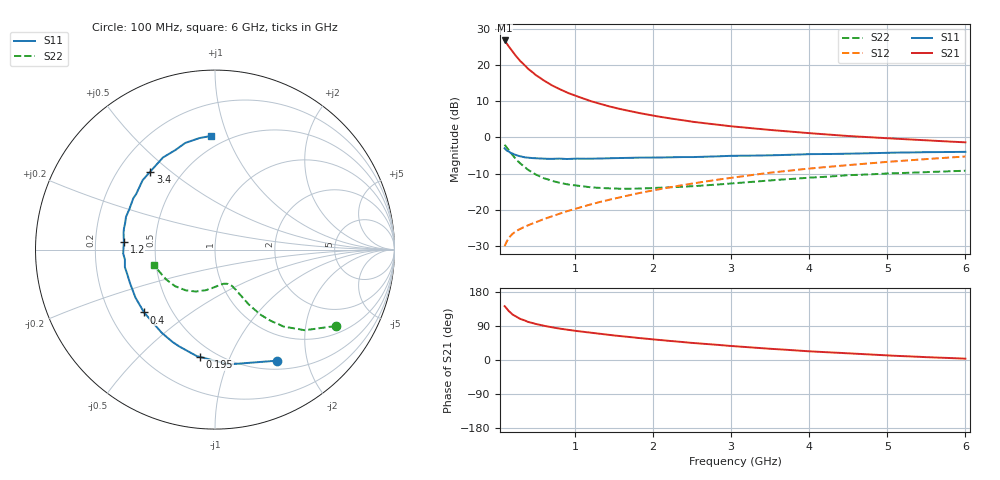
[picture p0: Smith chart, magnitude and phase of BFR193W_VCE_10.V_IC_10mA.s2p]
! Infineon Technologies  Discrete & RF Semiconductors
! BFR193W
! VCE =  10. V,  IC =  10 mA
! Common Emitter S-Parameters:  Nov 2015
# GHz  S  MA  R  50
!  f  S11  S21  S12  S22
! GHz  MAG  ANG  MAG  ANG  MAG  ANG  MAG  ANG
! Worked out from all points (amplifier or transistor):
!   192 points, 100 MHz to 6 GHz, reference 50 ohm
!   highest |S21| = 26.7 dB at 100 MHz (marker M1)
!   |S21| within 3 dB of that: start of sweep to 199.1 MHz
!   unconditionally stable (mu >= 1): 1.065 GHz to 2.635 GHz
!   at 440 MHz: K = 0.70, MSG = 21.1 dB, |S12| = -23.8 dB
!   at 1.7 GHz: K = 1.04, MAG = 10.3 dB, |S12| = -15.9 dB
!   at 6 GHz: K = 0.88, MSG = 2.0 dB, |S12| = -5.2 dB
!   S11 on the Smith chart (normalised r, x): 100 MHz: 0.61, -1.52; 195 MHz: 0.42, -0.78; 400 MHz: 0.35, -0.34; 1.2 GHz: 0.33, +0.04; 3.4 GHz: 0.33, +0.43; 6 GHz: 0.41, +0.87
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0.1  0.7083 -60.9  21.7 142.1  0.0318 62.6  0.7959 -32.3
0.15  0.6444 -83.0  18.17 129.5  0.0409 55.5  0.6725 -41.9
0.195  0.6038 -97.9  15.58 121.4  0.0463 52.1  0.5836 -47.6
0.2  0.602 -99.7  15.32 120.3  0.0469 51.8  0.5741 -48.3
0.24  0.5752 -110.2  13.49 115.2  0.0505 50.3  0.5103 -51.6
0.26  0.5661 -114.8  12.7 112.8  0.0521 49.8  0.4835 -53.0
0.3  0.5503 -122.7  11.32 108.4  0.055 49.2  0.4392 -55.2
0.4  0.528 -138.5  8.845 100.6  0.0617 49.7  0.3583 -58.4
0.5  0.5176 -148.9  7.238 95.0  0.0679 51.4  0.3085 -60.0
0.6  0.5101 -157.2  6.116 90.4  0.075 53.3  0.2753 -61.6
0.7  0.5074 -163.5  5.267 86.4  0.0816 54.9  0.2536 -62.5
0.9  0.505 -173.7  4.152 79.9  0.0964 58.0  0.2259 -64.5
1.1  0.5096 178.9  3.471 74.7  0.1115 60.0  0.2119 -67.4
1.2  0.5093 175.2  3.174 71.9  0.1194 60.7  0.2054 -68.9
1.6  0.5209 164.3  2.437 62.6  0.152 62.4  0.1964 -75.6
2.08  0.5294 153.2  1.935 52.9  0.1936 62.4  0.2023 -85.0
2.5  0.5365 145.3  1.648 45.1  0.2313 61.4  0.2129 -92.8
3.1  0.5596 134.6  1.393 35.6  0.2878 58.6  0.2363 -105.5
3.4  0.5648 129.7  1.299 31.2  0.317 56.7  0.2514 -112.5
4.1  0.5901 117.9  1.126 21.9  0.3815 51.3  0.2828 -128.2
5.1  0.6181 104.1  0.963 11.1  0.4696 43.4  0.3213 -150.7
6  0.6336 92.1  0.857 3.6  0.5468 35.3  0.3483 -165.5
